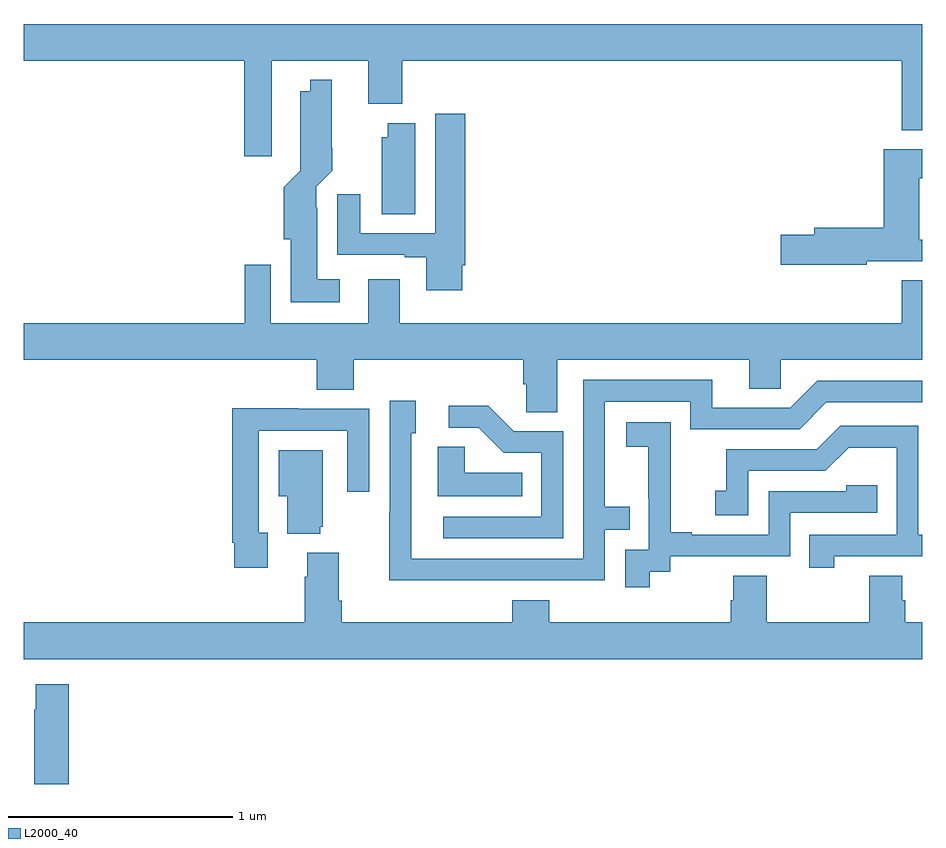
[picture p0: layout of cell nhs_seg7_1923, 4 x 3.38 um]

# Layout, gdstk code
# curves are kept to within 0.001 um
import gdstk
lib = gdstk.Library(unit=1e-6, precision=1e-09)
def P(c, l, *ps):  # polygons
    for p in ps: c.add(gdstk.Polygon(p, *l))
L2000_40 = (2000, 40)

nhs_seg7_1923 = lib.new_cell('nhs_seg7_1923')
P(nhs_seg7_1923, L2000_40, [(240.103,1063.22),(240.533,1063.22),(240.533,1063.028),(240.686,1063.028),(240.686,1063.22),(242.909,1063.22),(242.909,1062.911),(243,1062.911),(243,1063.384),(239,1063.384),(239,1063.22),(239.981,1063.22),(239.981,1062.795),(240.103,1062.795)],
  [(240.406,1062.247),(240.307,1062.247),(240.307,1062.566),(240.303,1062.566),(240.303,1062.66),(240.373,1062.73),(240.372,1063.135),(240.275,1063.135),(240.275,1063.084),(240.23,1063.084),(240.23,1062.73),(240.158,1062.658),(240.158,1062.426),(240.188,1062.426),(240.188,1062.146),(240.406,1062.146)],
  [(240.952,1062.31),(240.965,1062.31),(240.965,1062.985),(240.833,1062.985),(240.833,1062.453),(240.499,1062.453),(240.499,1062.625),(240.395,1062.625),(240.395,1062.357),(240.695,1062.357),(240.695,1062.345),(240.791,1062.345),(240.791,1062.198),(240.952,1062.198)],
  [(240.742,1062.943),(240.62,1062.943),(240.62,1062.879),(240.593,1062.879),(240.593,1062.538),(240.742,1062.538)],
  [(242.754,1062.327),(243,1062.327),(243,1062.423),(242.986,1062.423),(242.986,1062.698),(243,1062.698),(243,1062.826),(242.828,1062.826),(242.828,1062.476),(242.519,1062.476),(242.519,1062.446),(242.37,1062.446),(242.37,1062.311),(242.754,1062.311)],
  [(241.375,1061.888),(242.231,1061.888),(242.231,1061.761),(242.37,1061.761),(242.37,1061.888),(243,1061.888),(243,1062.242),(242.909,1062.242),(242.909,1062.052),(240.673,1062.052),(240.673,1062.247),(240.533,1062.247),(240.533,1062.052),(240.099,1062.052),(240.099,1062.313),(239.983,1062.313),(239.983,1062.052),(239,1062.052),(239,1061.888),(240.305,1061.888),(240.305,1061.755),(240.47,1061.755),(240.47,1061.888),(241.223,1061.888),(241.223,1061.779),(241.236,1061.779),(241.236,1061.656),(241.375,1061.656)],
  [(241.091,1060.908),(241.587,1060.908),(241.587,1061.133),(241.697,1061.133),(241.697,1061.234),(241.587,1061.234),(241.587,1061.703),(241.968,1061.703),(241.968,1061.58),(242.454,1061.58),(242.574,1061.7),(243,1061.7),(243,1061.796),(242.532,1061.796),(242.412,1061.676),(242.065,1061.676),(242.065,1061.799),(241.491,1061.799),(241.491,1061.004),(240.726,1061.004),(240.726,1061.562),(240.745,1061.562),(240.745,1061.707),(240.63,1061.707),(240.63,1061.213),(240.628,1061.213),(240.628,1060.907)],
  [(241.401,1061.571),(241.182,1061.571),(241.069,1061.684),(240.891,1061.684),(240.891,1061.586),(241.025,1061.586),(241.136,1061.475),(241.305,1061.475),(241.305,1061.19),(240.867,1061.19),(240.867,1061.094),(241.401,1061.094)],
  [(240.085,1061.118),(240.045,1061.118),(240.045,1061.574),(240.441,1061.574),(240.441,1061.301),(240.537,1061.301),(240.537,1061.67),(240.221,1061.67),(240.221,1061.672),(239.929,1061.672),(239.929,1061.074),(239.937,1061.074),(239.937,1060.962),(240.085,1060.962)],
  [(241.786,1060.945),(241.878,1060.945),(241.878,1061.013),(242.412,1061.013),(242.412,1061.208),(242.801,1061.208),(242.801,1061.331),(242.661,1061.331),(242.661,1061.304),(242.316,1061.304),(242.316,1061.109),(241.975,1061.109),(241.975,1061.122),(241.88,1061.122),(241.88,1061.405),(241.881,1061.405),(241.881,1061.611),(241.683,1061.611),(241.683,1061.501),(241.781,1061.501),(241.781,1061.273),(241.782,1061.273),(241.782,1061.043),(241.677,1061.043),(241.677,1060.875),(241.786,1060.875)],
  [(242.608,1061.013),(243,1061.013),(243,1061.109),(242.982,1061.109),(242.982,1061.595),(242.636,1061.595),(242.531,1061.49),(242.128,1061.49),(242.128,1061.305),(242.079,1061.305),(242.079,1061.196),(242.226,1061.196),(242.226,1061.394),(242.568,1061.394),(242.672,1061.498),(242.886,1061.498),(242.886,1061.109),(242.497,1061.109),(242.497,1060.962),(242.608,1060.962)],
  [(241.22,1061.386),(240.963,1061.386),(240.963,1061.501),(240.842,1061.501),(240.842,1061.282),(241.22,1061.282)],
  [(240.32,1061.145),(240.331,1061.145),(240.331,1061.485),(240.134,1061.485),(240.134,1061.282),(240.173,1061.282),(240.173,1061.114),(240.32,1061.114)],
  [(243,1060.72),(242.924,1060.72),(242.924,1060.818),(242.911,1060.818),(242.911,1060.928),(242.764,1060.928),(242.764,1060.72),(242.307,1060.72),(242.307,1060.928),(242.159,1060.928),(242.159,1060.818),(242.147,1060.818),(242.147,1060.72),(241.34,1060.72),(241.34,1060.819),(241.175,1060.819),(241.175,1060.72),(240.416,1060.72),(240.416,1060.816),(240.403,1060.816),(240.403,1061.029),(240.263,1061.029),(240.263,1060.922),(240.251,1060.922),(240.251,1060.72),(239,1060.72),(239,1060.556),(243,1060.556)],
  [(239.201,1060.444),(239.054,1060.444),(239.054,1060.331),(239.047,1060.331),(239.047,1060),(239.201,1060)])

lib.write_gds('nhs_seg7_1923.gds')
